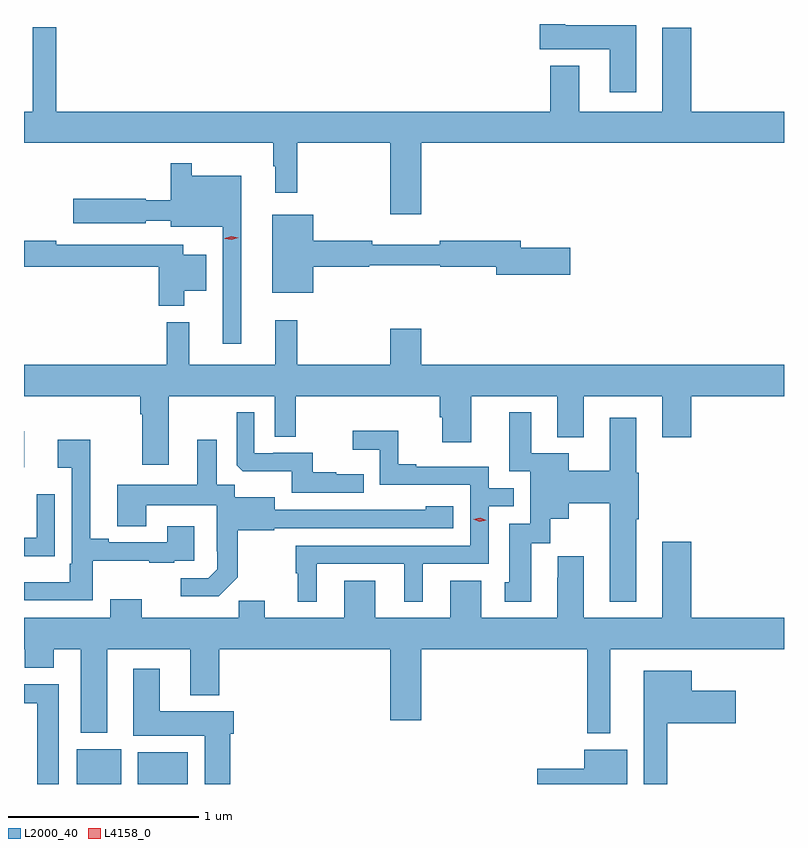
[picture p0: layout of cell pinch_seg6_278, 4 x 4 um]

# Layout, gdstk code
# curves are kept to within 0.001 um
import gdstk
lib = gdstk.Library(unit=1e-6, precision=1e-09)
def R(c, l, rs):  # rectangles x0, y0, x1, y1
    for r in rs: c.add(gdstk.rectangle(r[:2], r[2:], *l))
def P(c, l, *ps):  # polygons
    for p in ps: c.add(gdstk.Polygon(p, *l))
L2000_40 = (2000, 40)
L4158_0 = (4158, 0)

pinch_seg6_278 = lib.new_cell('pinch_seg6_278')
R(pinch_seg6_278, L2000_40, [(870.65,990.582,870.883,990.766), (870.971,990.582,871.234,990.748), (870.372,992.25,870.373,992.438)])
P(pinch_seg6_278, L2000_40, [(873.595,994.576),(873.22,994.576),(873.22,994.582),(873.086,994.582),(873.086,994.448),(873.455,994.448),(873.455,994.224),(873.595,994.224)],
  [(872.464,993.956),(874.372,993.956),(874.372,994.12),(873.884,994.12),(873.884,994.561),(873.731,994.561),(873.731,994.12),(873.295,994.12),(873.295,994.363),(873.143,994.363),(873.143,994.12),(870.541,994.12),(870.541,994.564),(870.419,994.564),(870.419,994.12),(870.372,994.12),(870.372,993.956),(871.683,993.956),(871.683,993.833),(871.694,993.833),(871.694,993.693),(871.811,993.693),(871.811,993.956),(872.3,993.956),(872.3,993.582),(872.464,993.582)],
  [(871.516,993.784),(871.255,993.784),(871.255,993.85),(871.145,993.85),(871.145,993.655),(871.014,993.655),(871.014,993.663),(870.63,993.663),(870.63,993.533),(871.014,993.533),(871.014,993.546),(871.145,993.546),(871.145,993.515),(871.419,993.515),(871.419,992.898),(871.516,992.898)],
  [(871.894,993.304),(872.19,993.304),(872.19,993.312),(872.562,993.312),(872.562,993.304),(872.858,993.304),(872.858,993.262),(873.247,993.262),(873.247,993.404),(872.986,993.404),(872.986,993.44),(872.56,993.44),(872.56,993.421),(872.204,993.421),(872.204,993.44),(871.894,993.44),(871.894,993.577),(871.679,993.577),(871.679,993.167),(871.894,993.167)],
  [(871.216,993.179),(871.33,993.179),(871.33,993.367),(871.21,993.367),(871.21,993.42),(870.542,993.42),(870.542,993.44),(870.372,993.44),(870.372,993.304),(871.082,993.304),(871.082,993.098),(871.216,993.098)],
  [(871.135,992.624),(871.692,992.624),(871.692,992.41),(871.801,992.41),(871.801,992.624),(872.561,992.624),(872.561,992.511),(872.573,992.511),(872.573,992.382),(872.725,992.382),(872.725,992.624),(873.179,992.624),(873.179,992.408),(873.319,992.408),(873.319,992.624),(873.731,992.624),(873.731,992.406),(873.884,992.406),(873.884,992.624),(874.372,992.624),(874.372,992.788),(872.464,992.788),(872.464,992.977),(872.3,992.977),(872.3,992.788),(871.811,992.788),(871.811,993.022),(871.694,993.022),(871.694,992.788),(871.241,992.788),(871.241,993.013),(871.123,993.013),(871.123,992.788),(870.372,992.788),(870.372,992.624),(870.983,992.624),(870.983,992.528),(870.995,992.528),(870.995,992.262),(871.135,992.262)],
  [(873.595,991.976),(873.608,991.976),(873.608,992.22),(873.595,992.22),(873.595,992.509),(873.455,992.509),(873.455,992.232),(873.238,992.232),(873.238,992.323),(873.043,992.323),(873.043,992.539),(872.927,992.539),(872.927,992.229),(873.036,992.229),(873.036,991.953),(872.927,991.953),(872.927,991.644),(872.903,991.644),(872.903,991.542),(873.043,991.542),(873.043,991.85),(873.141,991.85),(873.141,991.979),(873.238,991.979),(873.238,992.06),(873.455,992.06),(873.455,991.541),(873.595,991.541)],
  [(872.159,992.212),(872.015,992.212),(872.015,992.224),(871.892,992.224),(871.892,992.325),(871.684,992.325),(871.684,992.322),(871.584,992.322),(871.584,992.539),(871.491,992.539),(871.491,992.259),(871.523,992.228),(871.782,992.228),(871.782,992.115),(872.159,992.115)],
  [(871.912,991.74),(872.372,991.74),(872.372,991.541),(872.47,991.541),(872.47,991.74),(872.817,991.74),(872.817,992.043),(872.95,992.043),(872.95,992.139),(872.817,992.139),(872.817,992.253),(872.437,992.253),(872.437,992.266),(872.343,992.266),(872.343,992.441),(872.103,992.441),(872.103,992.342),(872.244,992.342),(872.244,992.157),(872.721,992.157),(872.721,991.836),(871.803,991.836),(871.803,991.692),(871.814,991.692),(871.814,991.541),(871.912,991.541)],
  [(870.733,991.757),(871.031,991.757),(871.031,991.746),(871.163,991.746),(871.163,991.758),(871.267,991.758),(871.267,991.939),(871.127,991.939),(871.127,991.854),(870.817,991.854),(870.817,991.873),(870.721,991.873),(870.721,992.395),(870.549,992.395),(870.549,992.246),(870.624,992.246),(870.624,991.741),(870.612,991.741),(870.612,991.645),(870.372,991.645),(870.372,991.548),(870.733,991.548)],
  [(871.497,991.671),(871.497,991.917),(871.689,991.917),(871.689,991.929),(872.632,991.929),(872.632,992.044),(872.487,992.044),(872.487,992.026),(871.693,992.025),(871.693,992.092),(871.482,992.092),(871.482,992.156),(871.387,992.156),(871.387,992.395),(871.283,992.395),(871.283,992.158),(870.863,992.158),(870.863,991.939),(871.015,991.939),(871.015,992.048),(871.386,992.048),(871.386,991.807),(871.388,991.807),(871.388,991.712),(871.341,991.665),(871.197,991.665),(871.197,991.571),(871.397,991.571)],
  [(870.534,992.107),(870.438,992.107),(870.438,991.878),(870.372,991.878),(870.372,991.781),(870.534,991.781)],
  [(873.457,991.292),(874.372,991.292),(874.372,991.456),(873.884,991.456),(873.884,991.858),(873.731,991.858),(873.731,991.456),(873.319,991.456),(873.319,991.78),(873.182,991.78),(873.182,991.667),(873.179,991.667),(873.179,991.456),(872.779,991.456),(872.779,991.651),(872.615,991.651),(872.615,991.456),(872.221,991.456),(872.221,991.651),(872.057,991.651),(872.057,991.456),(871.639,991.456),(871.639,991.547),(871.501,991.547),(871.501,991.456),(870.991,991.456),(870.991,991.555),(870.827,991.555),(870.827,991.456),(870.372,991.456),(870.372,991.292),(870.377,991.292),(870.377,991.193),(870.529,991.193),(870.529,991.292),(870.671,991.292),(870.671,990.851),(870.811,990.851),(870.811,991.292),(871.247,991.292),(871.247,991.049),(871.4,991.049),(871.4,991.292),(872.3,991.292),(872.3,990.918),(872.464,990.918),(872.464,991.292),(873.336,991.292),(873.336,990.848),(873.457,990.848)],
  [(871.457,990.846),(871.475,990.846),(871.475,990.964),(871.087,990.964),(871.087,991.189),(870.947,991.189),(870.947,990.836),(871.322,990.836),(871.322,990.582),(871.457,990.582)],
  [(873.757,990.902),(874.117,990.902),(874.117,991.072),(873.886,991.072),(873.886,991.177),(873.635,991.177),(873.635,990.582),(873.757,990.582)],
  [(870.556,991.106),(870.372,991.106),(870.372,991.008),(870.443,991.008),(870.443,990.582),(870.556,990.582)],
  [(873.547,990.763),(873.32,990.763),(873.32,990.662),(873.072,990.662),(873.072,990.582),(873.547,990.582)])
P(pinch_seg6_278, L4158_0, [(872.77,991.963),(872.737,991.975),(872.737,991.976),(872.737,991.976),(872.772,991.983),(872.806,991.971),(872.806,991.971),(872.806,991.971)],
  [(871.465,993.446),(871.429,993.453),(871.429,993.453),(871.429,993.454),(871.464,993.466),(871.5,993.458),(871.5,993.458),(871.5,993.458)])

lib.write_gds('pinch_seg6_278.gds')
